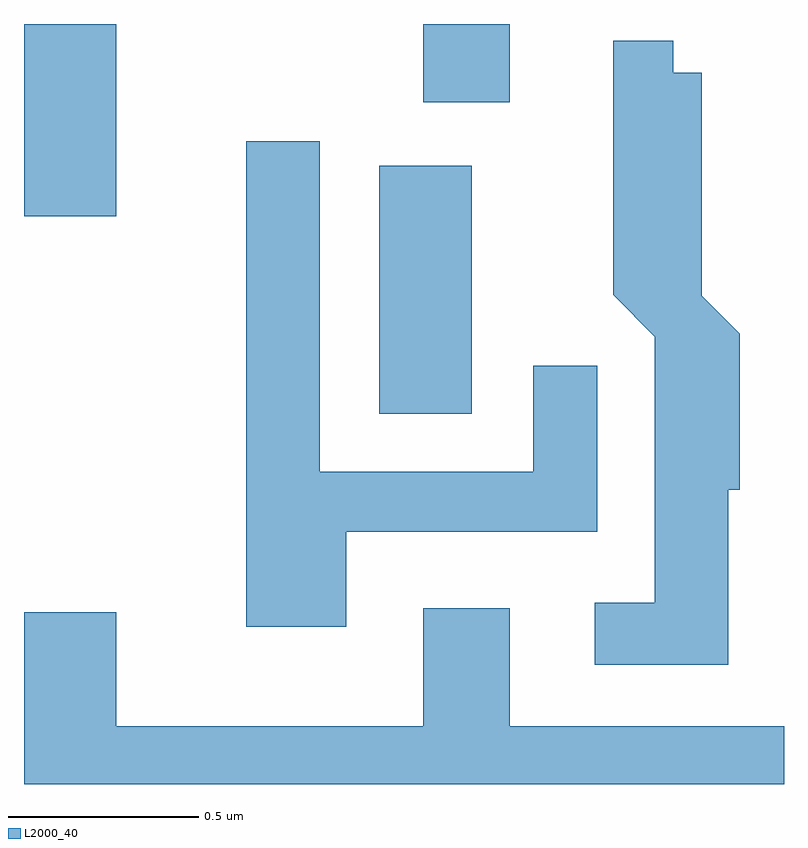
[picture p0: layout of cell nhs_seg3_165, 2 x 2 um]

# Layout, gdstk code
import gdstk
lib = gdstk.Library(unit=1e-6, precision=1e-09)
def R(c, l, rs):  # rectangles x0, y0, x1, y1
    for r in rs: c.add(gdstk.rectangle(r[:2], r[2:], *l))
def P(c, l, *ps):  # polygons
    for p in ps: c.add(gdstk.Polygon(p, *l))
L2000_40 = (2000, 40)

nhs_seg3_165 = lib.new_cell('nhs_seg3_165')
R(nhs_seg3_165, L2000_40, [(187.546,1144.866,187.789,1145.519), (186.611,1145.386,186.854,1145.892), (187.661,1145.686,187.889,1145.892)])
P(nhs_seg3_165, L2000_40, [(188.464,1144.666),(188.494,1144.666),(188.494,1145.077),(188.394,1145.177),(188.394,1145.764),(188.319,1145.764),(188.319,1145.848),(188.161,1145.848),(188.161,1145.179),(188.271,1145.069),(188.271,1144.369),(188.113,1144.369),(188.113,1144.206),(188.464,1144.206)],
  [(187.459,1144.556),(188.119,1144.556),(188.119,1144.993),(187.951,1144.993),(187.951,1144.714),(187.389,1144.714),(187.389,1145.584),(187.196,1145.584),(187.196,1144.306),(187.459,1144.306)],
  [(188.611,1144.044),(187.889,1144.044),(187.889,1144.354),(187.661,1144.354),(187.661,1144.044),(186.854,1144.044),(186.854,1144.344),(186.611,1144.344),(186.611,1143.892),(188.611,1143.892)])

lib.write_gds('nhs_seg3_165.gds')
